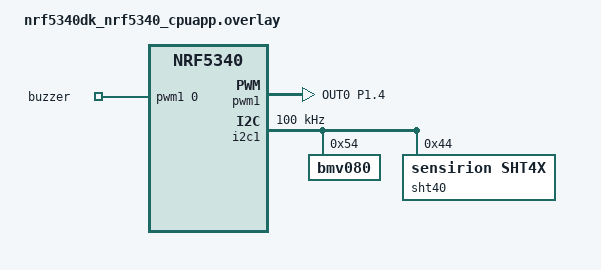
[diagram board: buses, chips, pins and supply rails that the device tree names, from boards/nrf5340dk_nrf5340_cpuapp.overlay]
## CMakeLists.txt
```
cmake_minimum_required(VERSION 3.20.0)
find_package(Zephyr REQUIRED HINTS $ENV{ZEPHYR_BASE})

project(nRF5340_Wearable)

target_sources(app PRIVATE
    src/main.c
    src/frame.c
    src/store.c
    src/ble.c
)
target_include_directories(app PRIVATE src src/bmv080)

# BMV080: prebuilt Bosch libs (m33f hard-float). The two archives reference each
# other, so wrap them in a linker group so ld rescans until resolved.
target_link_libraries(app PRIVATE
    -Wl,--start-group
    ${CMAKE_CURRENT_SOURCE_DIR}/src/bmv080/lib_bmv080.a
    ${CMAKE_CURRENT_SOURCE_DIR}/src/bmv080/lib_postProcessor.a
    -Wl,--end-group
)
```

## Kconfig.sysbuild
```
# The nRF5340 BLE controller lives on the network core. Sysbuild builds the
# ipc_radio image for it and merges the hex - without this the app core comes
# up but bt_enable() fails.

source "${ZEPHYR_BASE}/share/sysbuild/Kconfig"

config NRF_DEFAULT_IPC_RADIO
	default y

config NETCORE_IPC_RADIO_BT_HCI_IPC
	default y
```

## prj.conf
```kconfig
CONFIG_I2C=y
CONFIG_GPIO=y
CONFIG_PWM=y

# SHT40 via mainline Zephyr sensor driver (no external lib needed)
CONFIG_SENSOR=y
CONFIG_SHT4X=y

# BMV080 Bosch lib is built for m33f (hard-float) -> match the float ABI, else link fails
CONFIG_FPU=y

# Bosch particle algorithm (lib_postProcessor) is stack-hungry; serve_interrupt
# runs it on the main stack. 8K overflowed -> 16K. (RAM is 448K, plenty.)
CONFIG_MAIN_STACK_SIZE=16384

# Minute records in internal flash (storage_partition, 160K)
CONFIG_FLASH=y
CONFIG_FLASH_MAP=y
CONFIG_FLASH_PAGE_LAYOUT=y
CONFIG_NVS=y
CONFIG_MPU_ALLOW_FLASH_WRITE=y

# Device id ("SL" + 6 hex of the factory id) for the frame and advertising name
CONFIG_HWINFO=y

# BLE peripheral. The controller runs on the network core - see Kconfig.sysbuild.
CONFIG_BT=y
CONFIG_BT_PERIPHERAL=y
CONFIG_BT_MAX_CONN=1
CONFIG_BT_DEVICE_NAME="SNTL"
CONFIG_BT_DEVICE_NAME_DYNAMIC=y
CONFIG_BT_DEVICE_NAME_MAX=16
CONFIG_HEAP_MEM_POOL_SIZE=2048

# App asks for MTU 247 after connecting; smaller still works, just slower.
CONFIG_BT_L2CAP_TX_MTU=247
CONFIG_BT_BUF_ACL_RX_SIZE=251
CONFIG_BT_BUF_ACL_TX_SIZE=251
CONFIG_BT_ATT_PREPARE_COUNT=2
```

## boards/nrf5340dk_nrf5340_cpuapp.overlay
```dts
/*
 * nRF5340 DK: BMV080 + SHT40 on i2c1 (P1.02 SDA / P1.03 SCL), passive buzzer
 * on pwm1 (P1.04), NVS storage in internal flash.
 *
 * - clock-frequency: 100kHz standard mode (SHT40/BMV080 both fine)
 * - bias-pull-up: nRF internal pull-ups so external 10k aren't strictly needed
 *   for bench testing. (Weak ~13k; add external 10k for real use.)
 */
#include <zephyr/dt-bindings/pinctrl/nrf-pinctrl.h>
#include <zephyr/dt-bindings/gpio/gpio.h>
#include <zephyr/dt-bindings/pwm/pwm.h>

/ {
	/* Passive buzzer: it has no oscillator of its own, so a DC level only
	 * clicks on the edges - it needs a square wave. Driven from pwm1 on
	 * P1.04 (Arduino D2), unused by the DK (LEDs P0.28-31, buttons
	 * P0.08/09/23/24, i2c1 P1.02/03, spi4 P1.13-15, uart1 P1.00/01).
	 * pwm0 is taken by the board's pwm_led0 on P0.28.
	 *
	 * The period here is only a default - main.c sets its own per note to
	 * play the melody. */
	buzzers {
		compatible = "pwm-leds";

		buzzer: buzzer {
			pwms = <&pwm1 0 PWM_HZ(1319) PWM_POLARITY_NORMAL>;
		};
	};
};

&pinctrl {
	i2c1_default: i2c1_default {
		group1 {
			psels = <NRF_PSEL(TWIM_SDA, 1, 2)>,
				<NRF_PSEL(TWIM_SCL, 1, 3)>;
			bias-pull-up;
		};
	};

	i2c1_sleep: i2c1_sleep {
		group1 {
			psels = <NRF_PSEL(TWIM_SDA, 1, 2)>,
				<NRF_PSEL(TWIM_SCL, 1, 3)>;
			low-power-enable;
		};
	};

	pwm1_default: pwm1_default {
		group1 {
			psels = <NRF_PSEL(PWM_OUT0, 1, 4)>;
		};
	};

	pwm1_sleep: pwm1_sleep {
		group1 {
			psels = <NRF_PSEL(PWM_OUT0, 1, 4)>;
			low-power-enable;
		};
	};
};

&pwm1 {
	status = "okay";
	pinctrl-0 = <&pwm1_default>;
	pinctrl-1 = <&pwm1_sleep>;
	pinctrl-names = "default", "sleep";
};

&i2c1 {
	status = "okay";
	clock-frequency = <100000>;

	/* BMV080 particulate sensor. Address 0x54 (CSB=GND, MISO=GND).
	 * No compatible: Bosch proprietary lib drives it; HAL takes the bus only.
	 * PS pin must be tied to VDDIO(3.3V) on the hardware to select I2C. */
	bmv080: bmv080@54 {
		reg = <0x54>;
	};

	/* SHT40 temp/humidity. Uses the mainline Zephyr sht4x driver (no lib). */
	sht40: sht4x@44 {
		compatible = "sensirion,sht4x";
		reg = <0x44>;
		repeatability = <2>;   /* 0=low 1=med 2=high */
	};
};

/*
 * 24 h of one-minute records is 1440 * (14 B + 8 B NVS overhead) = ~31 KB, so
 * the board default 32 KB storage_partition would have no room left for
 * garbage collection. Take the space from slot1_partition, the MCUboot
 * secondary slot, which is dead weight here - this build has no DFU.
 *
 *   slot1   0x84000 .. 0xD8000  (336K, was 464K)
 *   storage 0xD8000 .. 0x100000 (160K, was 32K)
 */
&slot1_partition {
	reg = <0x00084000 0x00054000>;
};

&storage_partition {
	reg = <0x000d8000 0x00028000>;
};
```

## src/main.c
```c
/*
 * Air-quality node: BMV080 (PM) + SHT40 (temp/RH) on i2c1.
 *
 * - one record per minute into flash (24 h ring), handed out over BLE
 * - buzzer sounds while PM2.5 >= 75 or PM10 >= 150 ug/m3
 *
 * PM in the wire frame comes from the BMV080, which is the only PM sensor left
 * on this build and reports float ug/m3 directly (no scaling). If it fails to
 * open the loop keeps running on SHT40 alone and records carry SENSOR_FAULT
 * rather than being dropped - the app and server tag bad data, never discard
 * it, because this is safety-management data.
 *
 * There is no calendar clock on this chip: RTC0/RTC1 are plain 32.768kHz
 * counters and the DK has no battery-backed RTC, so every record carries
 * SNTL_FLAG_RTC_UNSET and ts is device seconds since first boot.
 */
#include <zephyr/kernel.h>
#include <zephyr/drivers/i2c.h>
#include <zephyr/drivers/sensor.h>
#include <zephyr/drivers/pwm.h>
#include <zephyr/drivers/gpio.h>
#include <string.h>

#include "bmv080.h"
#include "bmv080_defs.h"

#include "ble.h"
#include "frame.h"
#include "store.h"

static const struct i2c_dt_spec bmv080_spec = I2C_DT_SPEC_GET(DT_NODELABEL(bmv080));
/* SHT40 uses the mainline Zephyr sht4x driver via the sensor API */
static const struct device *const sht40 = DEVICE_DT_GET(DT_NODELABEL(sht40));
static const struct pwm_dt_spec buzzer = PWM_DT_SPEC_GET(DT_NODELABEL(buzzer));
/* DK "Button 1" (P0.23) - opens the BLE advertising window on press. */
static const struct gpio_dt_spec adv_btn = GPIO_DT_SPEC_GET(DT_ALIAS(sw0), gpios);
static struct gpio_callback adv_btn_cb;

/* ---------------- BMV080 sercom callbacks (Zephyr I2C) ----------------
 * Protocol (datasheet 4.4.2.4): 16-bit header then N 16-bit big-endian words.
 * The header's MSB is the R/W bit (already folded into the I2C address by the
 * driver), so we shift the header left by 1 and send it as a 2-byte big-endian
 * "register address", then transfer payload words big-endian. Ref: Bosch STM32
 * example (HAL_I2C_Mem_Read/Write with header<<1). */
static int8_t bmv080_read(bmv080_sercom_handle_t h, uint16_t header,
			  uint16_t *payload, uint16_t len)
{
	const struct i2c_dt_spec *s = h;
	uint16_t ha = header << 1;
	uint8_t hb[2] = { (uint8_t)(ha >> 8), (uint8_t)(ha & 0xFF) };

	if (i2c_write_read(s->bus, s->addr, hb, 2, payload, (size_t)len * 2) != 0) {
		return -1;
	}
	/* big-endian wire -> host: swap each 16-bit word */
	for (uint16_t i = 0; i < len; i++) {
		uint16_t w = payload[i];
		payload[i] = (uint16_t)((w << 8) | (w >> 8));
	}
	return 0;
}

static int8_t bmv080_write(bmv080_sercom_handle_t h, uint16_t header,
			   const uint16_t *payload, uint16_t len)
{
	const struct i2c_dt_spec *s = h;
	uint8_t buf[2 + 2 * 32];   /* driver writes are small (config words) */

	if ((size_t)len * 2 + 2 > sizeof(buf)) {
		return -1;
	}
	uint16_t ha = header << 1;
	buf[0] = (uint8_t)(ha >> 8);
	buf[1] = (uint8_t)(ha & 0xFF);
	for (uint16_t i = 0; i < len; i++) {
		buf[2 + i * 2]     = (uint8_t)(payload[i] >> 8);   /* big-endian */
		buf[2 + i * 2 + 1] = (uint8_t)(payload[i] & 0xFF);
	}
	return i2c_write(s->bus, buf, (size_t)len * 2 + 2, s->addr) == 0 ? 0 : -1;
}

static int8_t bmv080_delay(uint32_t ms)
{
	k_msleep((int32_t)ms);
	return 0;
}

/* ---------------- buzzer ----------------
 * Passive buzzer: the PWM carrier IS the pitch, 50% duty = loudest. The DT
 * period is only a default - the melody sets its own per note.
 *
 * Alarm sound: the Mario coin jingle, B5 grace note into a held E6, then a
 * rest before it repeats. Played from the system workqueue rather than
 * k_msleep() because the BMV080 must be served at least once per second and
 * blocking the main loop to play a tune would miss that. */
static void tone_hz(uint32_t hz)
{
	uint32_t period;

	if (hz == 0) {
		pwm_set_pulse_dt(&buzzer, 0);
		return;
	}
	period = NSEC_PER_SEC / hz;
	pwm_set_dt(&buzzer, period, period / 2);
}

static const struct { uint32_t hz; uint16_t ms; } coin[] = {
	{  988,  80 },   /* B5 */
	{ 1319, 700 },   /* E6, held */
	{    0, 500 },   /* rest before the next repeat */
};

static bool coin_playing;
static int  coin_idx;

static void coin_step(struct k_work *w);
static K_WORK_DELAYABLE_DEFINE(coin_work, coin_step);

static void coin_step(struct k_work *w)
{
	ARG_UNUSED(w);

	if (!coin_playing) {
		tone_hz(0);
		return;
	}
	tone_hz(coin[coin_idx].hz);
	k_work_reschedule(&coin_work, K_MSEC(coin[coin_idx].ms));
	coin_idx = (coin_idx + 1) % ARRAY_SIZE(coin);
}

static void buzzer_set(bool on)
{
	static bool cur;

	if (on == cur) {
		return;
	}
	cur = on;
	coin_playing = on;
	if (on) {
		coin_idx = 0;
		k_work_reschedule(&coin_work, K_NO_WAIT);
	} else {
		k_work_cancel_delayable(&coin_work);
		tone_hz(0);
	}
}

/* ---------------- record storage off the main loop ----------------
 * An NVS write can erase a page (~85 ms) and occasionally garbage collect, and
 * the BMV080 has to be served at least once a second. So the minute record is
 * queued to a dedicated workqueue instead of being written inline. Its own
 * workqueue, not the system one, so it cannot stall the buzzer melody. */
#define STORE_WQ_STACK 2048

static K_THREAD_STACK_DEFINE(store_wq_stack, STORE_WQ_STACK);
static struct k_work_q store_wq;
static struct k_work store_work;
K_MSGQ_DEFINE(store_q, sizeof(struct sntl_record), 4, 4);

static void store_work_fn(struct k_work *w)
{
	struct sntl_record rec;

	ARG_UNUSED(w);

	while (k_msgq_get(&store_q, &rec, K_NO_WAIT) == 0) {
		int err = store_append(&rec);

		if (err) {
			printk("[STORE] append failed (%d)\n", err);
		} else {
			printk("[STORE] %us  PM2.5 %u  PM10 %u ug/m3\n",
			       rec.ts, rec.pm25, rec.pm10);
		}
	}
}

/* ---------------- measurement window ----------------
 * Accumulated at x10 ug/m3 so the per-minute average keeps a digit of
 * resolution before it is rounded to the integer the frame carries. */
static struct {
	uint32_t n;
	uint32_t pm25_sum;
	uint32_t pm10_sum;
	bool     obstructed;
} win;

#define AQ_PM10_HIGH   150.0f
#define AQ_PM25_HIGH   75.0f

/* BMV080 responsiveness knobs. The library defaults to HIGH_PRECISION over a
 * 10 s window, which averages a puff of dust away to nothing. FAST_RESPONSE
 * with a shorter window trades noise for reaction time. If readings get jumpy,
 * raise the window back toward 10 s or step up to BALANCED (2). */
#define BMV080_ALGORITHM       E_BMV080_MEASUREMENT_ALGORITHM_FAST_RESPONSE
#define BMV080_INTEGRATION_S   5.0f

/* Latest reading, x100 ug/m3, for the once-a-second status line. */
static int last_pm25, last_pm10;

static void bmv080_data_ready(bmv080_output_t out, void *param)
{
	ARG_UNUSED(param);

	last_pm25 = (int)(out.pm2_5_mass_concentration * 100.0f);
	last_pm10 = (int)(out.pm10_mass_concentration * 100.0f);

	if (out.is_obstructed) {
		printk("  [warn] sensor obstructed - clean the optical window\n");
		win.obstructed = true;
	}

	win.n++;
	win.pm25_sum += (uint32_t)(out.pm2_5_mass_concentration * 10.0f);
	win.pm10_sum += (uint32_t)(out.pm10_mass_concentration * 10.0f);

	bool high = (out.pm10_mass_concentration >= AQ_PM10_HIGH) ||
		    (out.pm2_5_mass_concentration >= AQ_PM25_HIGH);

	if (high) {
		printk("  *** ALARM: PM2.5>=75 or PM10>=150 ***\n");
	}
	buzzer_set(high);
}

/* One line a second: time, PM2.5, PM10 - plus temp/RH, which are free here and
 * are the only sign the SHT40 is still alive (they are not in the record). */
static void status_line(void)
{
	struct sensor_value t = { 0 }, h = { 0 };
	bool have_th = device_is_ready(sht40) && sensor_sample_fetch(sht40) == 0;

	if (have_th) {
		sensor_channel_get(sht40, SENSOR_CHAN_AMBIENT_TEMP, &t);
		sensor_channel_get(sht40, SENSOR_CHAN_HUMIDITY, &h);
	}

	printk("[%6us] PM2.5 %3d.%02d  PM10 %3d.%02d ug/m3", store_now(),
	       last_pm25 / 100, (last_pm25 < 0 ? -last_pm25 : last_pm25) % 100,
	       last_pm10 / 100, (last_pm10 < 0 ? -last_pm10 : last_pm10) % 100);

	if (have_th) {
		printk("   T %d.%01dC  RH %d.%01d%%",
		       t.val1, (t.val2 < 0 ? -t.val2 : t.val2) / 100000,
		       h.val1, (h.val2 < 0 ? -h.val2 : h.val2) / 100000);
	}
	printk("\n");
}

/* Turn the last minute into one record and queue it for flash. */
static void window_flush(void)
{
	struct sntl_record rec = { 0 };

	if (win.n > 0) {
		rec.pm25 = (uint16_t)(win.pm25_sum / win.n / 10);
		rec.pm10 = (uint16_t)(win.pm10_sum / win.n / 10);
	} else {
		rec.flags |= SNTL_FLAG_SENSOR_FAULT;   /* tag it, never drop it */
	}
	if (win.obstructed) {
		rec.flags |= SNTL_FLAG_SENSOR_FAULT;
	}
	/* No time source on this board yet - see the file header. */
	rec.flags |= SNTL_FLAG_RTC_UNSET;
	if (rec.pm10 >= SNTL_PM10_THRESHOLD) {
		rec.flags |= SNTL_FLAG_THRESHOLD_EXCEEDED;
	}
	/* DK runs off USB and has no battery gauge. Report full rather than a
	 * made up number; wire an ADC divider here for a real product. */
	rec.batt = 100;

	memset(&win, 0, sizeof(win));

	if (k_msgq_put(&store_q, &rec, K_NO_WAIT) != 0) {
		printk("[STORE] queue full, record dropped\n");
		return;
	}
	k_work_submit_to_queue(&store_wq, &store_work);
}

/* No debounce: a bounce just re-arms the same 20 s window, which is what a
 * second press would do anyway. */
static void adv_btn_pressed(const struct device *dev, struct gpio_callback *cb, uint32_t pins)
{
	ARG_UNUSED(dev); ARG_UNUSED(cb); ARG_UNUSED(pins);
	ble_advertise_window();
}

static int adv_btn_init(void)
{
	int err;

	if (!gpio_is_ready_dt(&adv_btn)) {
		return -ENODEV;
	}
	err = gpio_pin_configure_dt(&adv_btn, GPIO_INPUT);
	if (err) {
		return err;
	}
	err = gpio_pin_interrupt_configure_dt(&adv_btn, GPIO_INT_EDGE_TO_ACTIVE);
	if (err) {
		return err;
	}
	gpio_init_callback(&adv_btn_cb, adv_btn_pressed, BIT(adv_btn.pin));
	return gpio_add_callback(adv_btn.port, &adv_btn_cb);
}

int main(void)
{
	bmv080_handle_t bmv = NULL;
	int64_t next_tick;
	uint32_t sec = 0;
	int err;

	printk("\n");
	printk("========================================\n");
	printk("   Air Quality node: BMV080 + SHT40\n");
	printk("========================================\n");

	if (!device_is_ready(bmv080_spec.bus)) {
		printk("[ERROR] I2C bus not ready\n");
		return 0;
	}

	/* ---------------- buzzer ---------------- */
	if (pwm_is_ready_dt(&buzzer)) {
		printk("[READY] buzzer on P1.04\n");
		for (int i = 0; i < 2; i++) {   /* boot chime: one coin */
			tone_hz(coin[i].hz);
			k_msleep(coin[i].ms);
		}
		tone_hz(0);
	} else {
		printk("[WARN ] buzzer PWM not ready\n");
	}

	/* ---------------- storage ---------------- */
	err = store_init();
	if (err) {
		printk("[ERROR] store init failed (%d) - nothing will be recorded\n", err);
	} else {
		printk("[READY] store: next seq %u, oldest %u, t=%u s\n",
		       store_next_seq(), store_oldest_seq(), store_now());
	}

	k_work_queue_start(&store_wq, store_wq_stack, K_THREAD_STACK_SIZEOF(store_wq_stack),
			   K_PRIO_PREEMPT(8), NULL);
	k_work_init(&store_work, store_work_fn);

	/* ---------------- BLE ---------------- */
	err = ble_start();
	if (err) {
		printk("[ERROR] BLE start failed (%d)\n", err);
	}

	err = adv_btn_init();
	if (err) {
		printk("[WARN ] Button 1 not available (%d) - no way to advertise\n", err);
	}

	/* ---------------- BMV080 ---------------- */
	bmv080_status_code_t bst = bmv080_open(&bmv, (bmv080_sercom_handle_t)&bmv080_spec,
					       bmv080_read, bmv080_write, bmv080_delay);
	if (bst != E_BMV080_OK) {
		printk("[WARN ] BMV080 open failed (%d) - check wiring/PS pin, running SHT40 only\n",
		       (int)bst);
		bmv = NULL;
	} else {
		char id[13] = {0};
		bmv080_measurement_algorithm_t algo = BMV080_ALGORITHM;
		float integration_s = BMV080_INTEGRATION_S;

		if (bmv080_get_sensor_id(bmv, id) == E_BMV080_OK) {
			printk("[READY] BMV080 (id: %s)\n", id);
		}

		/* Both must be set before start_continuous_measurement() or they
		 * are ignored. On rejection the library keeps its default, so
		 * the warning below is the only sign it didn't take. */
		bst = bmv080_set_parameter(bmv, "measurement_algorithm", &algo);
		if (bst != E_BMV080_OK) {
			printk("[WARN ] measurement_algorithm rejected (%d)\n", (int)bst);
		}
		bst = bmv080_set_parameter(bmv, "integration_time", &integration_s);
		if (bst != E_BMV080_OK) {
			printk("[WARN ] integration_time rejected (%d) - still 10 s\n",
			       (int)bst);
		}

		if (bmv080_start_continuous_measurement(bmv) == E_BMV080_OK) {
			printk("[START] BMV080 measuring (fast response, %d s window)\n",
			       (int)BMV080_INTEGRATION_S);
		}
	}

	/* ---------------- SHT40 (mainline sensor driver) ---------------- */
	if (device_is_ready(sht40)) {
		printk("[READY] SHT40\n");
	} else {
		printk("[WARN ] SHT40 not ready - check wiring, skipping it\n");
	}

	/* Absolute 1 s cadence rather than k_msleep(1000) at the end: printk and
	 * the I2C reads take time, and letting that push the period past 1 s
	 * would starve bmv080_serve_interrupt(). */
	next_tick = k_uptime_get() + 1000;

	while (1) {
		if (bmv != NULL) {
			bmv080_serve_interrupt(bmv, bmv080_data_ready, NULL);
		}

		status_line();

		if (++sec >= STORE_PERIOD_S) {
			sec = 0;
			window_flush();
		}

		int64_t delay = next_tick - k_uptime_get();

		if (delay > 0) {
			k_msleep((int32_t)delay);
		}
		next_tick += 1000;
	}

	return 0;
}
```

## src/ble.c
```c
#include <zephyr/kernel.h>
#include <zephyr/bluetooth/bluetooth.h>
#include <zephyr/bluetooth/conn.h>
#include <zephyr/bluetooth/gatt.h>
#include <zephyr/bluetooth/uuid.h>
#include <zephyr/drivers/hwinfo.h>
#include <zephyr/sys/printk.h>
#include <errno.h>
#include <stdio.h>
#include <string.h>

#include "ble.h"
#include "store.h"

/* NUS-shaped UUIDs but this is not NUS - the app keys off these exact values. */
#define SNTL_UUID_SVC  BT_UUID_128_ENCODE(0x6e400001, 0xb5a3, 0xf393, 0xe0a9, 0xe50e24dcca9e)
#define SNTL_UUID_CTRL BT_UUID_128_ENCODE(0x6e400002, 0xb5a3, 0xf393, 0xe0a9, 0xe50e24dcca9e)
#define SNTL_UUID_DATA BT_UUID_128_ENCODE(0x6e400003, 0xb5a3, 0xf393, 0xe0a9, 0xe50e24dcca9e)

static const struct bt_uuid_128 uuid_svc  = BT_UUID_INIT_128(SNTL_UUID_SVC);
static const struct bt_uuid_128 uuid_ctrl = BT_UUID_INIT_128(SNTL_UUID_CTRL);
static const struct bt_uuid_128 uuid_data = BT_UUID_INIT_128(SNTL_UUID_DATA);

static char device_id[SNTL_DEVICE_ID_LEN + 1];
static struct bt_conn *current_conn;
static volatile bool notify_enabled;

/* Dump runs on its own thread: it can take seconds over the air, and it must
 * not sit on the BLE RX callback or on the system workqueue (the buzzer melody
 * lives there). */
#define DUMP_STACK_SIZE 2048
#define DUMP_PRIORITY   7

K_SEM_DEFINE(dump_req, 0, 1);
static uint32_t dump_first_seq;

const char *ble_device_id(void)
{
	return device_id;
}

/* "SL" + 6 hex from the factory device id = exactly 8 bytes, so the frame
 * field and the advertising name are the same string with no truncation. */
static void device_id_init(void)
{
	uint8_t hw[8] = {0};
	ssize_t n = hwinfo_get_device_id(hw, sizeof(hw));
	uint32_t tail;

	if (n < 3) {
		tail = 0;
	} else {
		tail = ((uint32_t)hw[n - 3] << 16) | ((uint32_t)hw[n - 2] << 8) | hw[n - 1];
	}
	snprintf(device_id, sizeof(device_id), "SL%06X", (unsigned int)(tail & 0xFFFFFF));
}

static const struct bt_data ad[] = {
	BT_DATA_BYTES(BT_DATA_FLAGS, (BT_LE_AD_GENERAL | BT_LE_AD_NO_BREDR)),
	BT_DATA_BYTES(BT_DATA_UUID128_ALL, SNTL_UUID_SVC),
};

/* Name goes in the scan response - the 128-bit UUID already fills the 31 byte
 * advertising payload. */
static struct bt_data sd[] = {
	BT_DATA(BT_DATA_NAME_COMPLETE, device_id, SNTL_DEVICE_ID_LEN),
};

static ssize_t ctrl_write(struct bt_conn *conn, const struct bt_gatt_attr *attr,
			  const void *buf, uint16_t len, uint16_t offset, uint8_t flags)
{
	uint32_t first_seq;

	ARG_UNUSED(conn); ARG_UNUSED(attr); ARG_UNUSED(flags);

	if (offset != 0) {
		return BT_GATT_ERR(BT_ATT_ERR_INVALID_OFFSET);
	}
	if (!sntl_parse_cmd(buf, len, &first_seq)) {
		return BT_GATT_ERR(BT_ATT_ERR_VALUE_NOT_ALLOWED);
	}

	dump_first_seq = first_seq;
	k_sem_give(&dump_req);
	printk("[BLE  ] dump requested from seq %u\n", first_seq);
	return len;
}

static void ccc_changed(const struct bt_gatt_attr *attr, uint16_t value)
{
	ARG_UNUSED(attr);
	notify_enabled = (value == BT_GATT_CCC_NOTIFY);
}

BT_GATT_SERVICE_DEFINE(sntl_svc,
	BT_GATT_PRIMARY_SERVICE(&uuid_svc),
	BT_GATT_CHARACTERISTIC(&uuid_ctrl.uuid,
			       BT_GATT_CHRC_WRITE, BT_GATT_PERM_WRITE,
			       NULL, ctrl_write, NULL),
	BT_GATT_CHARACTERISTIC(&uuid_data.uuid,
			       BT_GATT_CHRC_NOTIFY, BT_GATT_PERM_NONE,
			       NULL, NULL, NULL),
	BT_GATT_CCC(ccc_changed, BT_GATT_PERM_READ | BT_GATT_PERM_WRITE),
);

#define DATA_ATTR (&sntl_svc.attrs[3])

/* Push one chunk, retrying while the controller's buffers are full. */
static int notify_chunk(struct bt_conn *conn, const uint8_t *data, uint16_t len)
{
	int err;

	while ((err = bt_gatt_notify(conn, DATA_ATTR, data, len)) == -ENOMEM) {
		k_msleep(2);
		if (!current_conn) {
			return -ENOTCONN;
		}
	}
	return err;
}

/*
 * Stream one frame: header, then records, then CRC. The frame is emitted
 * straight into MTU-sized notifications with no per-chunk framing - the app
 * concatenates and uses the header's record count to find the end. A full day
 * is ~20 KB, so it is built incrementally rather than buffered.
 */
static void dump_run(struct bt_conn *conn, uint32_t first_seq)
{
	uint8_t buf[244];
	uint16_t mtu, chunk, fill = 0;
	uint16_t crc = 0xFFFF;
	uint32_t start, seq;
	uint16_t count;

	count = sntl_dump_range(first_seq, store_oldest_seq(), store_next_seq(), &start);

	mtu = bt_gatt_get_mtu(conn);
	chunk = (mtu > 3) ? (uint16_t)(mtu - 3) : 20;
	if (chunk > sizeof(buf)) {
		chunk = sizeof(buf);
	}

	/* header */
	sntl_encode_header(buf, count, device_id);
	fill = SNTL_HEADER_SIZE;
	crc = sntl_crc16(crc, buf, fill);

	for (seq = start; seq < start + count; seq++) {
		struct sntl_record rec;

		if (store_get(seq, &rec) != 0) {
			/* Recycled under us - send zeros rather than desync the
			 * record count the app is counting down. */
			memset(&rec, 0, sizeof(rec));
			rec.seq = seq;
			rec.flags = SNTL_FLAG_SENSOR_FAULT;
		}

		if (fill + SNTL_RECORD_SIZE > chunk) {
			if (notify_chunk(conn, buf, fill) < 0) {
				return;
			}
			fill = 0;
		}
		sntl_encode_record(buf + fill, &rec);
		crc = sntl_crc16(crc, buf + fill, SNTL_RECORD_SIZE);
		fill += SNTL_RECORD_SIZE;
	}

	/* trailing CRC, split across a chunk boundary if it lands there */
	if (fill + SNTL_CRC_SIZE > chunk) {
		if (notify_chunk(conn, buf, fill) < 0) {
			return;
		}
		fill = 0;
	}
	buf[fill++] = (uint8_t)(crc & 0xFF);
	buf[fill++] = (uint8_t)(crc >> 8);

	if (notify_chunk(conn, buf, fill) < 0) {
		return;
	}
	printk("[BLE  ] dump sent: %u records from seq %u\n", count, start);
}

static void dump_thread(void *a, void *b, void *c)
{
	ARG_UNUSED(a); ARG_UNUSED(b); ARG_UNUSED(c);

	while (1) {
		k_sem_take(&dump_req, K_FOREVER);
		if (current_conn && notify_enabled) {
			dump_run(current_conn, dump_first_seq);
		}
	}
}

K_THREAD_DEFINE(dump_tid, DUMP_STACK_SIZE, dump_thread, NULL, NULL, NULL,
		DUMP_PRIORITY, 0, 0);

/* ---------------- advertising window ----------------
 * Connectable advertising stops by itself the moment a central connects, so
 * without the restart below the node would be invisible after the first
 * session until the next reset. The window bounds how long it stays visible. */
static volatile bool adv_window_open;

static void adv_start(void)
{
	int err = bt_le_adv_start(BT_LE_ADV_CONN_FAST_1, ad, ARRAY_SIZE(ad),
				  sd, ARRAY_SIZE(sd));

	if (err == -EALREADY) {
		return;
	}
	if (err) {
		printk("[BLE  ] adv start failed (%d)\n", err);
		return;
	}
	printk("[BLE  ] advertising as %s for %d s\n", device_id, BLE_ADV_WINDOW_S);
}

static void adv_on_fn(struct k_work *w)
{
	ARG_UNUSED(w);
	adv_start();
}
static K_WORK_DEFINE(adv_on_work, adv_on_fn);

static void adv_off_fn(struct k_work *w)
{
	ARG_UNUSED(w);
	adv_window_open = false;
	bt_le_adv_stop();   /* does not drop an established connection */
	printk("[BLE  ] advertising window closed\n");
}
static K_WORK_DELAYABLE_DEFINE(adv_off_work, adv_off_fn);

void ble_advertise_window(void)
{
	adv_window_open = true;
	k_work_submit(&adv_on_work);
	k_work_reschedule(&adv_off_work, K_SECONDS(BLE_ADV_WINDOW_S));
}

static void connected(struct bt_conn *conn, uint8_t err)
{
	if (err) {
		printk("[BLE  ] connect failed (%u)\n", err);
		return;
	}
	current_conn = bt_conn_ref(conn);
	printk("[BLE  ] connected\n");
}

static void disconnected(struct bt_conn *conn, uint8_t reason)
{
	ARG_UNUSED(conn);
	printk("[BLE  ] disconnected (0x%02x)\n", reason);
	notify_enabled = false;
	if (current_conn) {
		bt_conn_unref(current_conn);
		current_conn = NULL;
	}
	if (adv_window_open) {
		k_work_submit(&adv_on_work);   /* still inside the window */
	}
}

BT_CONN_CB_DEFINE(conn_callbacks) = {
	.connected = connected,
	.disconnected = disconnected,
};

int ble_start(void)
{
	int err;

	device_id_init();

	err = bt_enable(NULL);
	if (err) {
		return err;
	}

	err = bt_set_name(device_id);
	if (err) {
		printk("[BLE  ] bt_set_name failed (%d)\n", err);
	}

	printk("[READY] BLE up as %s - press Button 1 to advertise\n", device_id);
	return 0;
}
```

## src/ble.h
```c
/*
 * SNTL BLE GATT service: advertises, takes dump commands on the control
 * characteristic, streams frames out on the data characteristic.
 */
#ifndef BLE_H_
#define BLE_H_

#include "frame.h"

/* 8 ASCII chars, NUL terminated. Same string is used as the advertising name -
 * the app matches on it to know how far it already got. */
const char *ble_device_id(void);

/* Brings up the stack. Does NOT advertise - call ble_advertise_window(). */
int ble_start(void);

/* Advertise for BLE_ADV_WINDOW_S, restarting after a disconnect until the
 * window expires. Pressing again re-arms it. Safe to call from an ISR. */
#define BLE_ADV_WINDOW_S 20
void ble_advertise_window(void);

#endif /* BLE_H_ */
```

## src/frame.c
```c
#include <string.h>

#include "frame.h"

uint16_t sntl_crc16(uint16_t seed, const uint8_t *data, size_t len)
{
	uint16_t crc = seed;

	while (len--) {
		crc ^= (uint16_t)(*data++) << 8;
		for (int i = 0; i < 8; i++) {
			crc = (crc & 0x8000u) ? (uint16_t)((crc << 1) ^ 0x1021u)
					      : (uint16_t)(crc << 1);
		}
	}
	return crc;
}

void sntl_encode_header(uint8_t *out, uint16_t record_count, const char *device_id)
{
	memcpy(out, SNTL_MAGIC, 4);
	out[4] = SNTL_VERSION;
	out[5] = SNTL_RECORD_SIZE;
	out[6] = (uint8_t)(record_count & 0xFF);
	out[7] = (uint8_t)(record_count >> 8);

	/* zero padded, never NUL-terminated-and-then-garbage */
	memset(out + 8, 0, SNTL_DEVICE_ID_LEN);
	for (size_t i = 0; i < SNTL_DEVICE_ID_LEN && device_id[i] != '\0'; i++) {
		out[8 + i] = (uint8_t)device_id[i];
	}
}

void sntl_encode_record(uint8_t *out, const struct sntl_record *rec)
{
	out[0]  = (uint8_t)(rec->seq);
	out[1]  = (uint8_t)(rec->seq >> 8);
	out[2]  = (uint8_t)(rec->seq >> 16);
	out[3]  = (uint8_t)(rec->seq >> 24);
	out[4]  = (uint8_t)(rec->ts);
	out[5]  = (uint8_t)(rec->ts >> 8);
	out[6]  = (uint8_t)(rec->ts >> 16);
	out[7]  = (uint8_t)(rec->ts >> 24);
	out[8]  = (uint8_t)(rec->pm25);
	out[9]  = (uint8_t)(rec->pm25 >> 8);
	out[10] = (uint8_t)(rec->pm10);
	out[11] = (uint8_t)(rec->pm10 >> 8);
	out[12] = rec->flags;
	out[13] = rec->batt;
}

size_t sntl_frame_size(uint16_t record_count)
{
	return SNTL_HEADER_SIZE + (size_t)record_count * SNTL_RECORD_SIZE + SNTL_CRC_SIZE;
}

int sntl_parse_cmd(const uint8_t *buf, size_t len, uint32_t *first_seq)
{
	if (len != SNTL_CMD_LEN || buf[0] != SNTL_CMD_DUMP) {
		return 0;
	}
	*first_seq = (uint32_t)buf[1] | ((uint32_t)buf[2] << 8) |
		     ((uint32_t)buf[3] << 16) | ((uint32_t)buf[4] << 24);
	return 1;
}

uint16_t sntl_dump_range(uint32_t first_seq, uint32_t oldest_seq, uint32_t next_seq,
			 uint32_t *start_seq)
{
	uint32_t start = (first_seq > oldest_seq) ? first_seq : oldest_seq;
	uint32_t count;

	if (start >= next_seq) {
		*start_seq = next_seq;
		return 0;
	}
	count = next_seq - start;
	if (count > UINT16_MAX) {
		count = UINT16_MAX;   /* recordCount is uint16 on the wire */
	}
	*start_seq = start;
	return (uint16_t)count;
}
```

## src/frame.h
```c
/*
 * SNTL wire frame - node to app.
 *
 * Deliberately plain C (stdint/string only, no Zephyr) so tests/test_frame.c
 * can build and run on the host. Do not add Zephyr includes here.
 *
 * Frame layout, all integers little-endian:
 *   header 16 B | record 14 B x recordCount | crc16 2 B
 * The CRC covers everything from the first header byte up to (not including)
 * the CRC itself.
 */
#ifndef FRAME_H_
#define FRAME_H_

#include <stdint.h>
#include <stddef.h>

#define SNTL_MAGIC          "SNTL"
#define SNTL_VERSION        1
#define SNTL_RECORD_SIZE    14
#define SNTL_HEADER_SIZE    16
#define SNTL_CRC_SIZE       2
#define SNTL_DEVICE_ID_LEN  8

/* Control characteristic command: 0x01 then uint32 LE firstSeq. */
#define SNTL_CMD_DUMP       0x01
#define SNTL_CMD_LEN        5

/* record flags */
#define SNTL_FLAG_SENSOR_FAULT        0x01
#define SNTL_FLAG_LOW_BATTERY         0x02
#define SNTL_FLAG_RTC_UNSET           0x04
#define SNTL_FLAG_CALIBRATING         0x08
#define SNTL_FLAG_THRESHOLD_EXCEEDED  0x10

/* Node-side threshold that raises SNTL_FLAG_THRESHOLD_EXCEEDED. */
#define SNTL_PM10_THRESHOLD  150

struct sntl_record {
	uint32_t seq;
	uint32_t ts;      /* UTC unix seconds; RTC_UNSET flag if not trustworthy */
	uint16_t pm25;    /* ug/m3, integer */
	uint16_t pm10;    /* ug/m3, integer */
	uint8_t  flags;
	uint8_t  batt;    /* percent, 0..100 */
};

/*
 * CRC-16/CCITT-FALSE: poly 0x1021, init 0xFFFF, no reflection, no final XOR.
 * Call with seed 0xFFFF and chain across chunks to CRC a streamed frame.
 * Check vector: "123456789" -> 0x29B1.
 */
uint16_t sntl_crc16(uint16_t seed, const uint8_t *data, size_t len);

/* out must be SNTL_HEADER_SIZE bytes. device_id is ASCII, zero padded to 8. */
void sntl_encode_header(uint8_t *out, uint16_t record_count, const char *device_id);

/* out must be SNTL_RECORD_SIZE bytes. */
void sntl_encode_record(uint8_t *out, const struct sntl_record *rec);

/* Total frame length for a given record count. */
size_t sntl_frame_size(uint16_t record_count);

/* Parse a control write. Returns 1 and sets *first_seq on a valid dump
 * command, 0 otherwise. */
int sntl_parse_cmd(const uint8_t *buf, size_t len, uint32_t *first_seq);

/*
 * How many records a dump answers with, and where it starts.
 * The selection is seq >= first_seq (inclusive - an app with nothing stored
 * sends first_seq = 0 and must still get record 0), clamped to what the ring
 * still holds. Returns the count; *start_seq gets the first seq to send.
 * Kept here rather than in the BLE code so the boundaries are host-testable.
 */
uint16_t sntl_dump_range(uint32_t first_seq, uint32_t oldest_seq, uint32_t next_seq,
			 uint32_t *start_seq);

#endif /* FRAME_H_ */
```

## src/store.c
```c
#include <zephyr/kernel.h>
#include <zephyr/drivers/flash.h>
#include <zephyr/storage/flash_map.h>
#include <zephyr/kvss/nvs.h>
#include <errno.h>
#include <string.h>

#include "store.h"

/*
 * One NVS entry per record, id = NVS_ID_REC0 + (seq % STORE_CAPACITY), so the
 * ring drops the oldest for free. Deliberately NOT batching writes: at 14 B of
 * payload plus an 8 B NVS ATE, a full day is 1440 * 22 = ~31 KB, and with the
 * 160 KB partition below that works out to roughly 8 sector erases a day
 * spread over 40 sectors - a few hundred erase cycles a year against a 10k
 * endurance rating. Batching would only buy wear we do not need, and would
 * cost up to a batch of records on power loss.
 */
#define NVS_ID_META   1
#define NVS_ID_REC0   0x100

struct meta {
	uint32_t next_seq;
	uint32_t base_sec;   /* device seconds at the last append */
};

static struct nvs_fs fs;
static struct meta meta;
static uint32_t boot_offset;   /* device seconds at this boot */
K_MUTEX_DEFINE(lock);   /* main loop appends, BLE thread reads */

uint32_t store_now(void)
{
	return boot_offset + (uint32_t)(k_uptime_get() / 1000);
}

int store_init(void)
{
	struct flash_pages_info info;
	int err;

	fs.flash_device = PARTITION_DEVICE(storage_partition);
	if (!device_is_ready(fs.flash_device)) {
		return -ENODEV;
	}
	fs.offset = PARTITION_OFFSET(storage_partition);
	err = flash_get_page_info_by_offs(fs.flash_device, fs.offset, &info);
	if (err) {
		return err;
	}
	fs.sector_size = info.size;
	fs.sector_count = PARTITION_SIZE(storage_partition) / info.size;

	err = nvs_mount(&fs);
	if (err) {
		return err;
	}

	if (nvs_read(&fs, NVS_ID_META, &meta, sizeof(meta)) != sizeof(meta)) {
		meta.next_seq = 0;
		meta.base_sec = 0;
	}
	/* Resume the clock where the last append left it. The powered-off gap
	 * is unknowable without an RTC - that is what RTC_UNSET is for. */
	boot_offset = meta.base_sec;
	return 0;
}

uint32_t store_next_seq(void)
{
	return meta.next_seq;
}

uint32_t store_oldest_seq(void)
{
	return (meta.next_seq > STORE_CAPACITY) ? meta.next_seq - STORE_CAPACITY : 0;
}

int store_append(struct sntl_record *rec)
{
	int err;

	k_mutex_lock(&lock, K_FOREVER);

	rec->seq = meta.next_seq;
	rec->ts  = store_now();

	err = nvs_write(&fs, NVS_ID_REC0 + (rec->seq % STORE_CAPACITY), rec, sizeof(*rec));
	if (err < 0) {
		k_mutex_unlock(&lock);
		return err;
	}

	meta.next_seq++;
	meta.base_sec = rec->ts;
	err = nvs_write(&fs, NVS_ID_META, &meta, sizeof(meta));

	k_mutex_unlock(&lock);
	return (err < 0) ? err : 0;
}

int store_get(uint32_t seq, struct sntl_record *out)
{
	ssize_t n;

	if (seq >= meta.next_seq || seq < store_oldest_seq()) {
		return -ENOENT;
	}

	k_mutex_lock(&lock, K_FOREVER);
	n = nvs_read(&fs, NVS_ID_REC0 + (seq % STORE_CAPACITY), out, sizeof(*out));
	k_mutex_unlock(&lock);

	if (n != sizeof(*out)) {
		return -ENOENT;
	}
	/* Slot may already have been recycled by a newer seq mid-read. */
	return (out->seq == seq) ? 0 : -ENOENT;
}
```

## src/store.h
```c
/*
 * Flash-backed ring of measurement records.
 *
 * Holds 24 h at one record per minute. seq is monotonic and survives reset -
 * the app and server dedupe on (device_id, seq), so restarting at 0 would make
 * new data collide with old and get dropped.
 */
#ifndef STORE_H_
#define STORE_H_

#include <stdint.h>

#include "frame.h"

/*
 * TEST BUILD: 30 s instead of the 60 s the app and server assume. Put this
 * back to 60 before shipping, or change the app's samplePeriod and the
 * server's SAMPLE_PERIOD_SECONDS to match - they compute "time over
 * threshold" by multiplying record counts by this.
 */
#define STORE_PERIOD_S   30
#define STORE_CAPACITY   (24 * 3600 / STORE_PERIOD_S)   /* always 24 h */

int store_init(void);

/* Fills in seq and ts, then persists. Safe to call from any thread. */
int store_append(struct sntl_record *rec);

/* seq that will be handed to the next appended record. */
uint32_t store_next_seq(void);

/* Oldest seq still in the ring (0 until it has wrapped). */
uint32_t store_oldest_seq(void);

/* 0 on success, -ENOENT if that seq is no longer held. */
int store_get(uint32_t seq, struct sntl_record *out);

/* Device seconds since first ever boot. Not wall clock - records carry
 * SNTL_FLAG_RTC_UNSET until something sets the time. */
uint32_t store_now(void);

#endif /* STORE_H_ */
```
